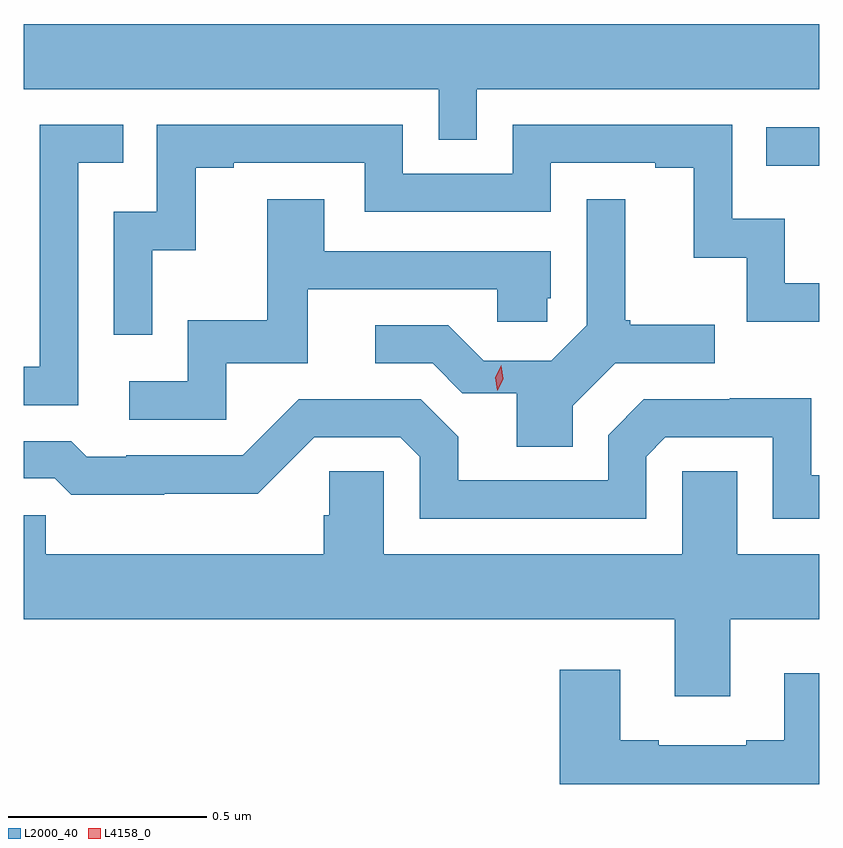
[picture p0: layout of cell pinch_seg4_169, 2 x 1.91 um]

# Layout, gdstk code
import gdstk
lib = gdstk.Library(unit=1e-6, precision=1e-09)
def R(c, l, rs):  # rectangles x0, y0, x1, y1
    for r in rs: c.add(gdstk.rectangle(r[:2], r[2:], *l))
def P(c, l, *ps):  # polygons
    for p in ps: c.add(gdstk.Polygon(p, *l))
L2000_40 = (2000, 40)
L4158_0 = (4158, 0)

pinch_seg4_169 = lib.new_cell('pinch_seg4_169')
R(pinch_seg4_169, L2000_40, [(1118.929,792.632,1119.063,792.729)])
P(pinch_seg4_169, L2000_40, [(1118.202,792.824),(1119.063,792.824),(1119.063,792.988),(1117.063,792.988),(1117.063,792.824),(1118.106,792.824),(1118.106,792.697),(1118.202,792.697)],
  [(1117.386,792.419),(1117.496,792.419),(1117.496,792.627),(1117.591,792.627),(1117.591,792.639),(1117.92,792.639),(1117.92,792.516),(1118.388,792.516),(1118.388,792.639),(1118.651,792.639),(1118.651,792.627),(1118.747,792.627),(1118.747,792.401),(1118.88,792.401),(1118.88,792.24),(1119.063,792.24),(1119.063,792.336),(1118.976,792.336),(1118.976,792.499),(1118.844,792.499),(1118.844,792.735),(1118.292,792.735),(1118.292,792.612),(1118.016,792.612),(1118.016,792.735),(1117.398,792.735),(1117.398,792.516),(1117.29,792.516),(1117.29,792.207),(1117.386,792.207)],
  [(1117.2,792.639),(1117.313,792.639),(1117.313,792.735),(1117.104,792.735),(1117.104,792.126),(1117.063,792.126),(1117.063,792.03),(1117.2,792.03)],
  [(1118.443,792.028),(1118.55,792.135),(1118.8,792.135),(1118.8,792.232),(1118.587,792.232),(1118.587,792.244),(1118.575,792.244),(1118.575,792.547),(1118.478,792.547),(1118.478,792.231),(1118.389,792.142),(1118.22,792.142),(1118.13,792.231),(1117.947,792.231),(1117.947,792.135),(1118.091,792.135),(1118.166,792.06),(1118.303,792.06),(1118.303,791.926),(1118.443,791.926)],
  [(1117.572,792.135),(1117.777,792.135),(1117.777,792.321),(1118.253,792.321),(1118.253,792.24),(1118.379,792.24),(1118.379,792.299),(1118.388,792.299),(1118.388,792.417),(1117.819,792.417),(1117.819,792.547),(1117.675,792.547),(1117.675,792.244),(1117.476,792.244),(1117.476,792.09),(1117.329,792.09),(1117.329,791.994),(1117.572,791.994)],
  [(1118.628,791.901),(1118.676,791.949),(1118.946,791.949),(1118.946,791.745),(1119.063,791.745),(1119.063,791.854),(1119.043,791.854),(1119.043,792.047),(1118.838,792.047),(1118.838,792.045),(1118.622,792.045),(1118.532,791.955),(1118.532,791.841),(1118.155,791.841),(1118.155,791.951),(1118.061,792.045),(1117.755,792.045),(1117.614,791.904),(1117.321,791.904),(1117.321,791.901),(1117.222,791.901),(1117.183,791.94),(1117.063,791.94),(1117.063,791.847),(1117.141,791.847),(1117.183,791.805),(1117.416,791.805),(1117.416,791.807),(1117.652,791.807),(1117.794,791.949),(1118.01,791.949),(1118.058,791.901),(1118.058,791.745),(1118.628,791.745)],
  [(1118.839,791.492),(1119.063,791.492),(1119.063,791.656),(1118.857,791.656),(1118.857,791.864),(1118.718,791.864),(1118.718,791.656),(1117.968,791.656),(1117.968,791.864),(1117.831,791.864),(1117.831,791.754),(1117.817,791.754),(1117.817,791.656),(1117.119,791.656),(1117.119,791.754),(1117.063,791.754),(1117.063,791.492),(1118.699,791.492),(1118.699,791.298),(1118.839,791.298)],
  [(1119.063,791.356),(1118.975,791.356),(1118.975,791.188),(1118.879,791.188),(1118.879,791.175),(1118.659,791.175),(1118.659,791.188),(1118.563,791.188),(1118.563,791.365),(1118.411,791.365),(1118.411,791.078),(1119.063,791.078)])
P(pinch_seg4_169, L4158_0, [(1118.253,792.068),(1118.253,792.068),(1118.248,792.1),(1118.263,792.129),(1118.263,792.13),(1118.263,792.129),(1118.268,792.097),(1118.254,792.068)])

lib.write_gds('pinch_seg4_169.gds')
